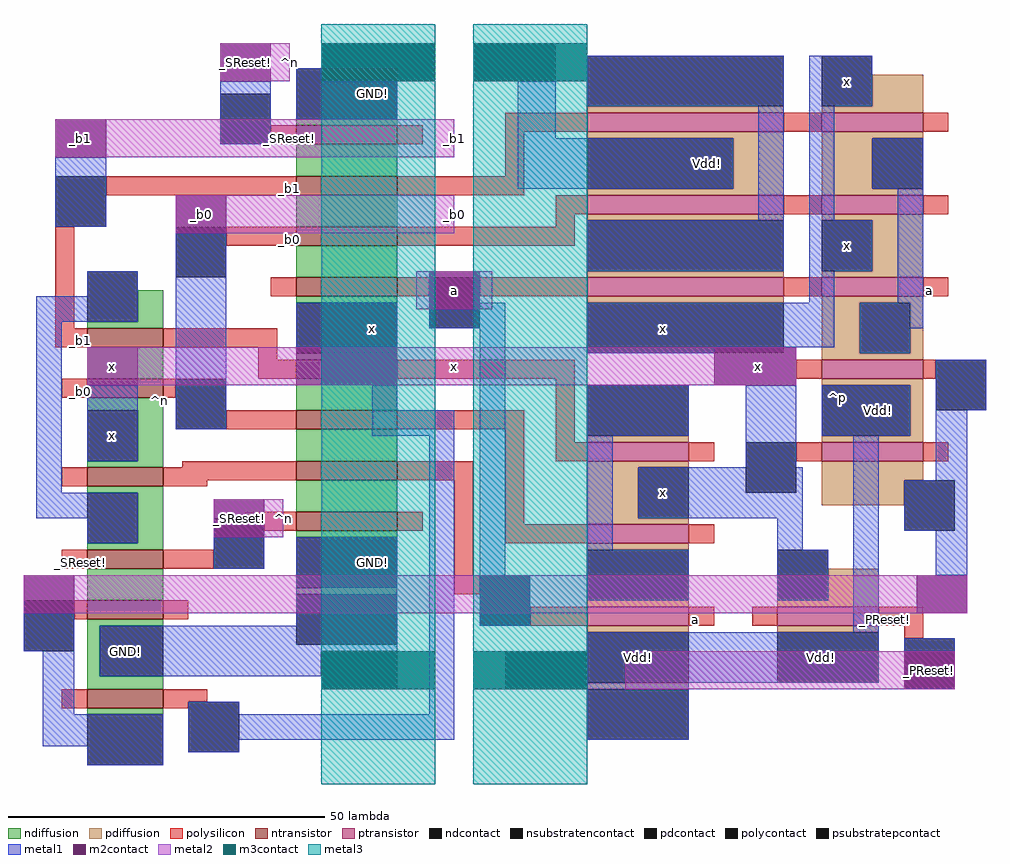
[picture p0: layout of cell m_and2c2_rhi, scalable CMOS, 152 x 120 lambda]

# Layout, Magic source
magic
tech scmos
<< ndiffusion >>
rect -25 148 -9 149
rect -25 140 -9 145
rect -25 132 -9 137
rect -25 124 -9 129
rect -50 117 -46 122
rect -58 116 -46 117
rect -25 120 -9 121
rect -58 108 -46 113
rect -25 111 -9 112
rect -58 103 -46 105
rect -50 95 -46 103
rect -25 103 -9 108
rect -25 95 -9 100
rect -58 94 -46 95
rect -58 90 -46 91
rect -50 82 -46 90
rect -25 87 -9 92
rect -58 81 -46 82
rect -25 83 -9 84
rect -58 73 -46 78
rect -25 74 -9 75
rect -58 69 -46 70
rect -58 61 -56 69
rect -58 59 -46 61
rect -58 55 -46 56
<< pdiffusion >>
rect 21 150 52 151
rect 66 151 74 156
rect 58 150 74 151
rect 21 146 52 147
rect 44 138 52 146
rect 21 137 52 138
rect 58 146 74 147
rect 58 138 66 146
rect 58 137 74 138
rect 21 133 52 134
rect 21 124 52 125
rect 58 133 74 134
rect 66 125 74 133
rect 58 124 74 125
rect 21 120 52 121
rect 58 120 74 121
rect 58 112 64 120
rect 72 112 74 120
rect 58 111 74 112
rect 58 107 74 108
rect 21 98 37 99
rect 72 99 74 107
rect 58 98 74 99
rect 21 94 37 95
rect 21 86 29 94
rect 58 92 74 95
rect 58 88 71 92
rect 21 85 37 86
rect 21 81 37 82
rect 21 72 37 73
rect 59 73 67 78
rect 51 72 67 73
rect 21 68 37 69
rect 51 68 67 69
rect 21 59 37 60
<< ntransistor >>
rect -25 145 -9 148
rect -25 137 -9 140
rect -25 129 -9 132
rect -25 121 -9 124
rect -58 113 -46 116
rect -25 108 -9 111
rect -58 105 -46 108
rect -25 100 -9 103
rect -58 91 -46 94
rect -25 92 -9 95
rect -58 78 -46 81
rect -25 84 -9 87
rect -58 70 -46 73
rect -58 56 -46 59
<< ptransistor >>
rect 21 147 52 150
rect 58 147 74 150
rect 21 134 52 137
rect 58 134 74 137
rect 21 121 52 124
rect 58 121 74 124
rect 58 108 74 111
rect 21 95 37 98
rect 58 95 74 98
rect 21 82 37 85
rect 21 69 37 72
rect 51 69 67 72
<< polysilicon >>
rect -29 145 -25 148
rect -9 145 -5 148
rect 8 147 21 150
rect 52 147 58 150
rect 74 147 78 150
rect 8 140 11 147
rect -55 137 -25 140
rect -9 137 11 140
rect 16 134 21 137
rect 52 134 58 137
rect 74 134 78 137
rect 16 132 19 134
rect -63 116 -60 132
rect -36 129 -25 132
rect -9 129 19 132
rect -29 121 -25 124
rect -9 121 -4 124
rect -63 113 -58 116
rect -46 113 -28 116
rect -31 111 -28 113
rect 4 121 21 124
rect 52 121 58 124
rect 74 121 78 124
rect -31 108 -25 111
rect -9 108 19 111
rect 54 108 58 111
rect 74 108 76 111
rect -62 105 -58 108
rect -46 105 -44 108
rect -36 100 -25 103
rect -9 100 11 103
rect -43 94 -25 95
rect -62 91 -58 94
rect -46 92 -25 94
rect -9 92 3 95
rect -46 91 -39 92
rect -33 86 -25 87
rect -62 78 -58 81
rect -46 78 -38 81
rect -30 84 -25 86
rect -9 84 -5 87
rect 0 77 3 92
rect 8 85 11 100
rect 16 98 19 108
rect 16 95 21 98
rect 37 95 41 98
rect 54 95 58 98
rect 74 95 78 98
rect 8 82 21 85
rect 37 82 41 85
rect 0 74 4 77
rect -60 70 -58 73
rect -46 70 -42 73
rect 12 69 21 72
rect 37 69 41 72
rect 47 69 51 72
rect 67 69 74 72
rect 71 67 74 69
rect -62 56 -58 59
rect -46 57 -39 59
rect -46 56 -42 57
<< ndcontact >>
rect -25 149 -9 157
rect -58 117 -50 125
rect -25 112 -9 120
rect -58 95 -50 103
rect -58 82 -50 90
rect -25 75 -9 83
rect -56 61 -46 69
rect -58 47 -46 55
<< pdcontact >>
rect 21 151 52 159
rect 58 151 66 159
rect 21 138 44 146
rect 66 138 74 146
rect 21 125 52 133
rect 58 125 66 133
rect 21 112 52 120
rect 64 112 72 120
rect 21 99 37 107
rect 58 99 72 107
rect 29 86 37 94
rect 71 84 79 92
rect 21 73 37 81
rect 51 73 59 81
rect 21 60 37 68
rect 51 60 67 68
<< psubstratepcontact >>
rect -25 66 -9 74
<< nsubstratencontact >>
rect 21 51 37 59
<< polycontact >>
rect -37 145 -29 153
rect -63 132 -55 140
rect -44 124 -36 132
rect -4 116 4 124
rect -44 100 -36 108
rect -38 78 -30 86
rect 76 103 84 111
rect 46 90 54 98
rect -68 65 -60 73
rect 4 69 12 77
rect 71 59 79 67
rect -42 49 -34 57
<< metal1 >>
rect -37 145 -29 155
rect -25 155 -21 157
rect -25 149 -9 155
rect 10 146 16 155
rect 21 151 52 159
rect -63 132 -55 143
rect 10 138 44 146
rect 48 133 52 151
rect -58 121 -50 125
rect -66 117 -50 121
rect -66 90 -62 117
rect -58 95 -50 107
rect -44 100 -36 131
rect 21 125 52 133
rect 56 151 66 159
rect 56 133 60 151
rect 66 138 74 146
rect 56 125 66 133
rect -25 113 -9 120
rect 56 120 60 125
rect 70 120 74 138
rect 4 119 8 120
rect -4 116 8 119
rect -13 103 -9 107
rect -13 99 0 103
rect -66 86 -50 90
rect -58 82 -50 86
rect -38 78 -30 83
rect -68 65 -60 71
rect -25 69 -9 83
rect -65 55 -60 65
rect -56 65 -9 69
rect -56 61 -21 65
rect -42 55 -34 57
rect -4 55 0 99
rect 4 77 8 116
rect 21 113 60 120
rect 64 116 74 120
rect 21 112 41 113
rect 64 112 72 116
rect 21 99 37 107
rect 21 81 25 99
rect 46 94 54 107
rect 58 99 72 107
rect 76 103 84 111
rect 29 86 55 94
rect 51 81 55 86
rect 4 69 12 77
rect 21 73 37 81
rect 51 73 59 81
rect 63 68 67 99
rect 76 92 81 103
rect 71 84 81 92
rect 76 77 81 84
rect 21 60 67 68
rect 71 65 79 67
rect -65 50 -46 55
rect -58 47 -46 50
rect -42 51 0 55
rect 21 51 37 60
rect -42 49 -34 51
<< m2contact >>
rect -37 155 -29 161
rect -63 143 -55 149
rect -21 155 -3 161
rect 3 155 16 161
rect -44 131 -36 137
rect -58 107 -50 113
rect -4 119 4 125
rect -25 107 -9 113
rect -38 83 -30 89
rect -68 71 -60 77
rect -21 59 -9 65
rect 41 107 54 113
rect 73 71 81 77
rect 8 59 21 65
rect 71 59 79 65
<< metal2 >>
rect -37 155 -26 161
rect -63 143 0 149
rect -44 131 0 137
rect -6 119 6 125
rect -58 107 54 113
rect -38 83 -27 89
rect -68 71 81 77
rect 27 59 79 65
<< m3contact >>
rect -21 155 -3 161
rect 3 155 21 161
rect -21 59 -3 65
rect 3 59 21 65
<< metal3 >>
rect -21 44 -3 164
rect 3 44 21 164
<< labels >>
rlabel polysilicon 75 122 75 122 1 a
rlabel polysilicon 38 70 38 70 1 a
rlabel metal1 33 90 33 90 1 x
rlabel metal1 29 64 29 64 1 Vdd!
rlabel metal1 -13 79 -13 79 1 GND!
rlabel metal1 -13 153 -13 153 5 GND!
rlabel metal1 58 64 58 64 1 Vdd!
rlabel polysilicon 68 70 68 70 1 _PReset!
rlabel metal1 67 103 67 103 1 Vdd!
rlabel polysilicon -26 138 -26 138 1 _b1
rlabel polysilicon -26 130 -26 130 1 _b0
rlabel polysilicon -26 146 -26 146 1 _SReset!
rlabel metal1 -13 116 -13 116 5 x
rlabel metal1 33 116 33 116 1 x
rlabel metal2 0 119 0 125 1 a
rlabel metal2 75 62 75 62 1 _PReset!
rlabel polysilicon -59 79 -59 79 1 _SReset!
rlabel metal1 -52 65 -52 65 1 GND!
rlabel polysilicon -59 114 -59 114 1 _b1
rlabel polysilicon -59 106 -59 106 1 _b0
rlabel metal1 -54 99 -54 99 1 x
rlabel metal2 0 131 0 137 7 _b0
rlabel metal2 0 143 0 149 7 _b1
rlabel metal2 -34 86 -34 86 1 _SReset!
rlabel metal2 -33 158 -33 158 1 _SReset!
rlabel metal1 40 142 40 142 1 Vdd!
rlabel metal1 62 155 62 155 5 x
rlabel metal1 62 129 62 129 1 x
rlabel space 36 50 85 160 3 ^p
rlabel space -69 47 -24 162 7 ^n
rlabel metal2 -27 83 -27 89 3 ^n
rlabel metal2 -26 155 -26 161 3 ^n
rlabel metal2 -54 110 -54 110 1 x
rlabel metal2 -59 146 -59 146 1 _b1
rlabel metal2 -40 134 -40 134 1 _b0
rlabel metal2 48 110 48 110 1 x
rlabel metal2 0 107 0 113 1 x
<< end >>
